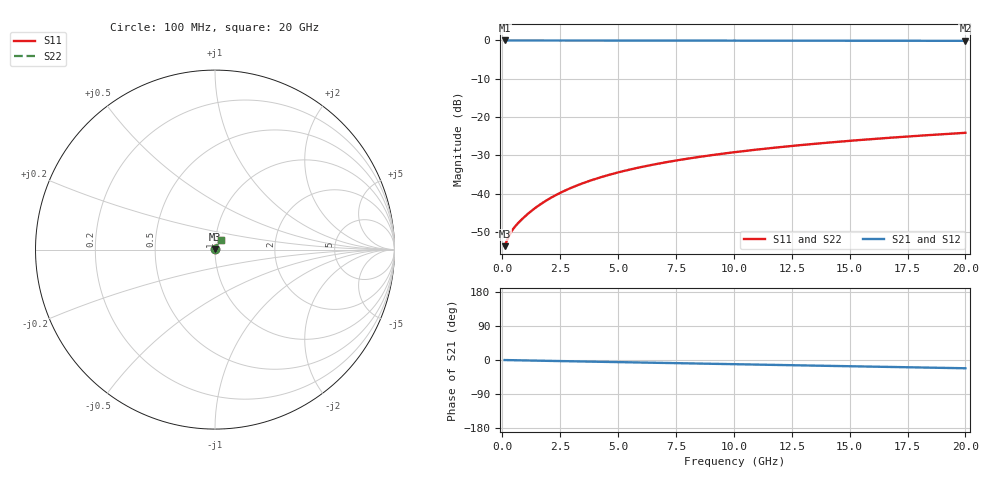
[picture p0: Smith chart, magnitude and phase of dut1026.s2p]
! Touchstone file exported from HFSS 2026.1.0
!  File:  C:/ffzhzh/LocalFiles/Ansys_Project_Files/temp_train_BSMRDL_1026_1783173514_55132.aedt
!  Generated:  09:59:39 PM Jul  4, 2026
!  Design:  BSMRDL
!  Project:  temp_train_BSMRDL_1026_1783173514_55132
! Variables:
!  h_bsmrdl = 3.63um
!  h_ox = 20um
!  h_rdl = 5um
!  h_sub = 80um
!  h_tmrdl = 5um
!  h_tsv = 80um
!  h_via = 3um
!  l_bsmrdl = 375.22um
!  l_sub = 775.22um
!  l_tmrdl = 200um
!  m_sub = 200um
!  pitch = 27.37um
!  r_tsv = 6um
!  s_tmrdl = 10um
!  w_bsmrdl = 21.2um
!  w_sub = 500um
!  w_tmrdl = 12um
!  x_tsv_center1 = 206um
!  x_tsv_center2 = 602.42um
!  x_tsv_center3 = 814.42um
!  x_tsv_center4 = 1210.84um
!  x_tsv_center5 = 1422.84um
!  x_tsv_center6 = 1819.26um
# GHz S MA R 50.000000
! Terminal data exported
! Port[1] = BSM_RDL1_1_T1
! Port[2] = BSM_RDL1_1_T2
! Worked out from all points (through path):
!   200 points, 100 MHz to 20 GHz, reference 50 ohm
!   highest |S21| = -0.02 dB at 100 MHz (marker M1); lowest = -0.1 dB at 20 GHz (marker M2)
!   group delay of S21, straight-line fit = 3.02 ps
!   lowest |S11| = -53.7 dB at 100 MHz (marker M3), VSWR 1.00, Z = 50.2 + j0.066 ohm
!   |S11| at or under -10 dB: start of sweep to end of sweep
!   |S22| runs from -53.7 to -24.1 dB; largest |S21 - S12| = 2.3e-15
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0.1  0.002075 18.5  0.998 -0.1  0.998 -0.1  0.002075 18.5
! Gamma 0 0 0 0
! Port Impedance 50 0 50 0
0.2  0.002469 29.6  0.9979 -0.3  0.9979 -0.3  0.002469 29.6
0.3  0.002877 35.6  0.9977 -0.4  0.9977 -0.4  0.002879 35.6
0.4  0.003245 39.5  0.9975 -0.5  0.9975 -0.5  0.003248 39.5
0.5  0.003579 42.6  0.9974 -0.6  0.9974 -0.6  0.003582 42.6
0.6  0.003894 45.3  0.9973 -0.7  0.9973 -0.7  0.003897 45.3
0.8  0.00451 50.1  0.9971 -0.9  0.9971 -0.9  0.004513 50.1
1.2  0.005785 57.2  0.9969 -1.4  0.9969 -1.4  0.005785 57.2
1.7  0.007475 62.8  0.9967 -1.9  0.9967 -1.9  0.007473 62.7
2.2  0.00922 66.0  0.9966 -2.5  0.9966 -2.5  0.009219 66.0
2.8  0.01134 68.1  0.9963 -3.2  0.9963 -3.2  0.01134 68.1
3.5  0.01381 69.4  0.996 -3.9  0.996 -3.9  0.01381 69.4
4.2  0.01625 69.9  0.9956 -4.7  0.9956 -4.7  0.01625 69.9
5  0.01898 70.0  0.9951 -5.6  0.9951 -5.6  0.01898 70.0
5.9  0.02199 69.7  0.9945 -6.6  0.9945 -6.6  0.02199 69.7
6.8  0.02492 69.2  0.994 -7.6  0.994 -7.6  0.02492 69.2
8.3  0.02963 68.1  0.9931 -9.2  0.9931 -9.2  0.02963 68.1
10.1  0.03507 66.7  0.992 -11.2  0.992 -11.2  0.03507 66.7
11.7  0.03974 65.4  0.9911 -12.9  0.9911 -12.9  0.03974 65.4
13.4  0.04457 64.0  0.9903 -14.7  0.9903 -14.7  0.04457 64.0
16.7  0.05365 61.2  0.9887 -18.3  0.9887 -18.3  0.05365 61.2
20  0.06238 58.3  0.9872 -21.8  0.9872 -21.8  0.06238 58.3
